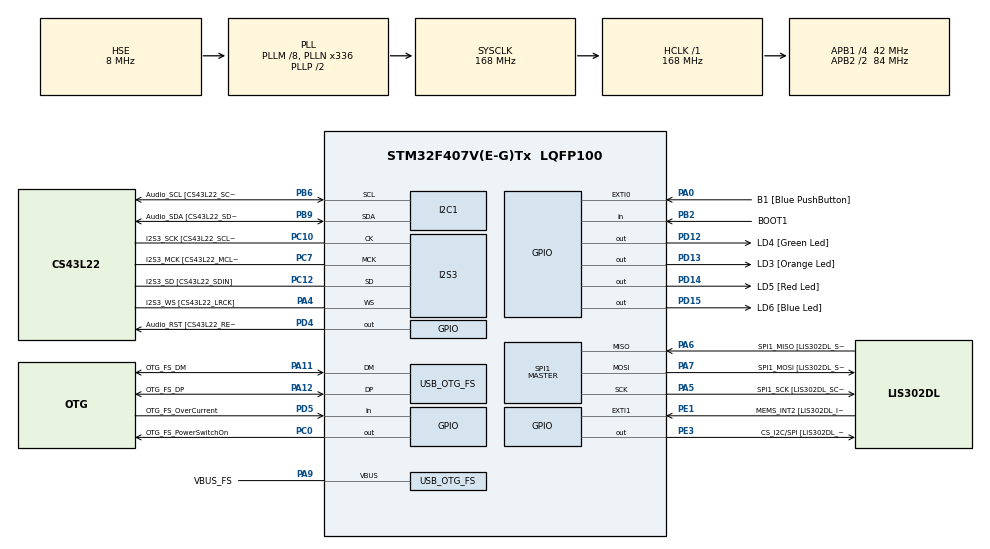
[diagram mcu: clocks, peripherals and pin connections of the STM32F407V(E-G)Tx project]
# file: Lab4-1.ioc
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I2S3.AudioFreq-Half_Duplex_Master=I2S_AUDIOFREQ_96K
I2S3.ErrorAudioFreq=-2.34 %
I2S3.ErrorAudioFreq-Half_Duplex_Master=0.8 %
I2S3.FullDuplexMode=I2S_FULLDUPLEXMODE_DISABLE
I2S3.Instance=SPI$Index
I2S3.RealAudioFreq=93.75 KHz
I2S3.RealAudioFreq-Half_Duplex_Master=96.774 KHz
I2S3.VirtualMode=I2S_MODE_MASTER
Mcu.Family=STM32F4
Mcu.Name=STM32F407V(E-G)Tx
Mcu.Package=LQFP100
NVIC.OTG_FS_IRQn=true\:0\:0\:false\:false\:true\:true\:true
NVIC.PriorityGroup=NVIC_PRIORITYGROUP_0
NVIC.TIM3_IRQn=true\:0\:0\:false\:false\:true\:true\:true
PA0-WKUP.GPIO_Label=B1 [Blue PushButton]
PA0-WKUP.GPIO_ModeDefaultEXTI=GPIO_MODE_EVT_RISING
PA0-WKUP.GPIO_PuPd=GPIO_NOPULL
PA0-WKUP.Signal=GPXTI0
PA10.GPIO_Label=OTG_FS_ID
PA10.GPIO_Mode=GPIO_MODE_AF_PP
PA10.GPIO_PuPd=GPIO_NOPULL
PA10.GPIO_Speed=GPIO_SPEED_FREQ_LOW
PA10.Signal=USB_OTG_FS_ID
PA11.GPIO_Label=OTG_FS_DM
PA11.GPIO_Mode=GPIO_MODE_AF_PP
PA11.GPIO_PuPd=GPIO_NOPULL
PA11.GPIO_Speed=GPIO_SPEED_FREQ_LOW
PA11.Mode=Host_Only
PA11.Signal=USB_OTG_FS_DM
PA12.GPIO_Label=OTG_FS_DP
PA12.GPIO_Mode=GPIO_MODE_AF_PP
PA12.GPIO_PuPd=GPIO_NOPULL
PA12.GPIO_Speed=GPIO_SPEED_FREQ_LOW
PA12.Mode=Host_Only
PA12.Signal=USB_OTG_FS_DP
PA13.GPIO_Label=SWDIO
PA13.Mode=Serial_Wire
PA13.Signal=SYS_JTMS-SWDIO
PA14.GPIO_Label=SWCLK
PA14.Mode=Serial_Wire
PA14.Signal=SYS_JTCK-SWCLK
PA4.GPIO_Label=I2S3_WS [CS43L22_LRCK]
PA4.GPIO_Mode=GPIO_MODE_AF_PP
PA4.GPIO_PuPd=GPIO_NOPULL
PA4.GPIO_Speed=GPIO_SPEED_FREQ_LOW
PA4.Mode=Half_Duplex_Master
PA4.Signal=I2S3_WS
PA5.GPIO_Label=SPI1_SCK [LIS302DL_SCL/SPC]
PA5.GPIO_Mode=GPIO_MODE_AF_PP
PA5.GPIO_PuPd=GPIO_NOPULL
PA5.GPIO_Speed=GPIO_SPEED_FREQ_LOW
PA5.Mode=Full_Duplex_Master
PA5.Signal=SPI1_SCK
PA6.GPIO_Label=SPI1_MISO [LIS302DL_SDO]
PA6.GPIO_Mode=GPIO_MODE_AF_PP
PA6.GPIO_PuPd=GPIO_NOPULL
PA6.GPIO_Speed=GPIO_SPEED_FREQ_LOW
PA6.Mode=Full_Duplex_Master
PA6.Signal=SPI1_MISO
PA7.GPIO_Label=SPI1_MOSI [LIS302DL_SDA/SDI/SDO]
PA7.GPIO_Mode=GPIO_MODE_AF_PP
PA7.GPIO_PuPd=GPIO_NOPULL
PA7.GPIO_Speed=GPIO_SPEED_FREQ_LOW
PA7.Mode=Full_Duplex_Master
PA7.Signal=SPI1_MOSI
PA9.GPIO_Label=VBUS_FS
PA9.GPIO_Mode=GPIO_MODE_INPUT
PA9.GPIO_PuPd=GPIO_NOPULL
PA9.Mode=Activate_VBUS
PA9.Signal=USB_OTG_FS_VBUS
PB10.GPIO_Label=CLK_IN [MP45DT02_CLK]
PB10.GPIO_Mode=GPIO_MODE_AF_PP
PB10.GPIO_PuPd=GPIO_NOPULL
PB10.GPIO_Speed=GPIO_SPEED_FREQ_LOW
PB10.Signal=I2S2_CK
PB2.GPIO_Label=BOOT1
PB2.GPIO_Mode=GPIO_MODE_INPUT
PB2.GPIO_PuPd=GPIO_NOPULL
PB2.Signal=GPIO_Input
PB3.GPIO_Label=SWO
PB3.Signal=SYS_JTDO-SWO
PB6.GPIO_Label=Audio_SCL [CS43L22_SCL]
PB6.GPIO_Mode=GPIO_MODE_AF_OD
PB6.GPIO_PuPd=GPIO_NOPULL
PB6.GPIO_Speed=GPIO_SPEED_FREQ_LOW
PB6.Mode=I2C
PB6.Signal=I2C1_SCL
PB9.GPIO_Label=Audio_SDA [CS43L22_SDA]
PB9.GPIO_Mode=GPIO_MODE_AF_OD
PB9.GPIO_PuPd=GPIO_NOPULL
PB9.GPIO_Speed=GPIO_SPEED_FREQ_LOW
PB9.Mode=I2C
PB9.Signal=I2C1_SDA
PC0.GPIO_Label=OTG_FS_PowerSwitchOn
PC0.GPIO_PuPd=GPIO_NOPULL
PC0.GPIO_Speed=GPIO_SPEED_FREQ_LOW
PC0.PinState=GPIO_PIN_SET
PC0.Signal=GPIO_Output
PC10.GPIO_Label=I2S3_SCK [CS43L22_SCLK]
PC10.GPIO_Mode=GPIO_MODE_AF_PP
PC10.GPIO_PuPd=GPIO_NOPULL
PC10.GPIO_Speed=GPIO_SPEED_FREQ_LOW
PC10.Mode=Half_Duplex_Master
PC10.Signal=I2S3_CK
PC12.GPIO_Label=I2S3_SD [CS43L22_SDIN]
PC12.GPIO_Mode=GPIO_MODE_AF_PP
PC12.GPIO_PuPd=GPIO_NOPULL
PC12.GPIO_Speed=GPIO_SPEED_FREQ_LOW
PC12.Mode=Half_Duplex_Master
PC12.Signal=I2S3_SD
PC14-OSC32_IN.GPIO_Label=PC14-OSC32_IN
PC14-OSC32_IN.Mode=LSE-External-Oscillator
PC14-OSC32_IN.Signal=RCC_OSC32_IN
PC15-OSC32_OUT.GPIO_Label=PC15-OSC32_OUT
PC15-OSC32_OUT.Mode=LSE-External-Oscillator
PC15-OSC32_OUT.Signal=RCC_OSC32_OUT
PC3.GPIO_Label=PDM_OUT [MP45DT02_DOUT]
PC3.GPIO_Mode=GPIO_MODE_AF_PP
PC3.GPIO_PuPd=GPIO_NOPULL
PC3.GPIO_Speed=GPIO_SPEED_FREQ_LOW
PC3.Signal=I2S2_SD
PC7.GPIO_Label=I2S3_MCK [CS43L22_MCLK]
PC7.GPIO_Mode=GPIO_MODE_AF_PP
PC7.GPIO_PuPd=GPIO_NOPULL
PC7.GPIO_Speed=GPIO_SPEED_FREQ_LOW
PC7.Mode=Master_Clock_Activated
PC7.Signal=I2S3_MCK
PD12.GPIO_Label=LD4 [Green Led]
PD12.GPIO_PuPd=GPIO_NOPULL
PD12.GPIO_Speed=GPIO_SPEED_FREQ_LOW
PD12.Signal=GPIO_Output
PD13.GPIO_Label=LD3 [Orange Led]
PD13.GPIO_PuPd=GPIO_NOPULL
PD13.GPIO_Speed=GPIO_SPEED_FREQ_LOW
PD13.Signal=GPIO_Output
PD14.GPIO_Label=LD5 [Red Led]
PD14.GPIO_PuPd=GPIO_NOPULL
PD14.GPIO_Speed=GPIO_SPEED_FREQ_LOW
PD14.Signal=GPIO_Output
PD15.GPIO_Label=LD6 [Blue Led]
PD15.GPIO_PuPd=GPIO_NOPULL
PD15.GPIO_Speed=GPIO_SPEED_FREQ_LOW
PD15.Signal=GPIO_Output
PD4.GPIO_Label=Audio_RST [CS43L22_RESET]
PD4.GPIO_PuPd=GPIO_NOPULL
PD4.GPIO_Speed=GPIO_SPEED_FREQ_LOW
PD4.Signal=GPIO_Output
PD5.GPIO_Label=OTG_FS_OverCurrent
PD5.GPIO_Mode=GPIO_MODE_INPUT
PD5.GPIO_PuPd=GPIO_NOPULL
PD5.Signal=GPIO_Input
PE1.GPIO_Label=MEMS_INT2 [LIS302DL_INT2]
PE1.GPIO_ModeDefaultEXTI=GPIO_MODE_EVT_RISING
PE1.GPIO_PuPd=GPIO_NOPULL
PE1.Signal=GPXTI1
PE3.GPIO_Label=CS_I2C/SPI [LIS302DL_CS_I2C/SPI]
PE3.GPIO_PuPd=GPIO_NOPULL
PE3.GPIO_Speed=GPIO_SPEED_FREQ_LOW
PE3.Signal=GPIO_Output
PH0-OSC_IN.GPIO_Label=PH0-OSC_IN
PH0-OSC_IN.Mode=HSE-External-Oscillator
PH0-OSC_IN.Signal=RCC_OSC_IN
PH1-OSC_OUT.GPIO_Label=PH1-OSC_OUT
PH1-OSC_OUT.Mode=HSE-External-Oscillator
PH1-OSC_OUT.Signal=RCC_OSC_OUT
ProjectManager.HeapSize=0x200
ProjectManager.StackSize=0x400
ProjectManager.TargetToolchain=STM32CubeIDE
RCC.48MHZClocksFreq_Value=48000000
RCC.AHBFreq_Value=168000000
RCC.APB1CLKDivider=RCC_HCLK_DIV4
RCC.APB1Freq_Value=42000000
RCC.APB1TimFreq_Value=84000000
RCC.APB2CLKDivider=RCC_HCLK_DIV2
RCC.APB2Freq_Value=84000000
RCC.APB2TimFreq_Value=168000000
RCC.CortexFreq_Value=168000000
RCC.HCLKFreq_Value=168000000
RCC.HSE_VALUE=8000000
RCC.HSI_VALUE=16000000
RCC.PLLM=8
RCC.PLLN=336
RCC.PLLQ=7
RCC.SYSCLKFreq_VALUE=168000000
RCC.SYSCLKSource=RCC_SYSCLKSOURCE_PLLCLK
RCC.VCOOutputFreq_Value=336000000
SPI1.BaudRatePrescaler-Full_Duplex_Master=SPI_BAUDRATEPRESCALER_2
SPI1.CalculateBaudRate-Full_Duplex_Master=42.0 MBits/s
SPI1.Direction=SPI_DIRECTION_2LINES
SPI1.Mode=SPI_MODE_MASTER
SPI1.Mode-Full_Duplex_Master=SPI_MODE_MASTER
SPI1.VirtualType=VM_MASTER
TIM3.AutoReloadPreload=TIM_AUTORELOAD_PRELOAD_ENABLE
TIM3.Period=100
TIM3.Prescaler=83
USB_HOST.BSP.number=1
USB_HOST.USBH_HandleTypeDef-CDC_FS=hUsbHostFS
USB_HOST.VirtualModeFS=Cdc
USB_HOST0.BSP.STBoard=false
USB_HOST0.BSP.api=Unknown
USB_HOST0.BSP.i2caddr=0
USB_HOST0.BSP.i2creg=0
USB_HOST0.BSP.instance=PC0
USB_HOST0.BSP.ip=GPIO
USB_HOST0.BSP.mode=Output
USB_HOST0.BSP.name=Drive_VBUS_FS
USB_HOST0.BSP.solution=PC0
USB_OTG_FS.VirtualMode=Host_Only
USB_OTG_FS.phy_itface=HCD_PHY_EMBEDDED
VP_TIM3_VS_ClockSourceINT.Mode=Internal
VP_USB_HOST_VS_USB_HOST_CDC_FS.Mode=CDC_FS
board=STM32F4DISCOVERY

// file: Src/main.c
/* USER CODE BEGIN Header */
/**
  ******************************************************************************
  * @file           : main.c
  * @brief          : Main program body
  ******************************************************************************
  * @attention
  *
  * <h2><center>&copy; Copyright (c) 2019 STMicroelectronics.
  * All rights reserved.</center></h2>
  *
  * This software component is licensed by ST under Ultimate Liberty license
  * SLA0044, the "License"; You may not use this file except in compliance with
  * the License. You may obtain a copy of the License at:
  *                             www.st.com/SLA0044
  *
  ******************************************************************************
  */
/* USER CODE END Header */

#include "main.h"
#include "usb_host.h"

I2C_HandleTypeDef hi2c1;

I2S_HandleTypeDef hi2s3;

SPI_HandleTypeDef hspi1;

TIM_HandleTypeDef htim3;

void SystemClock_Config(void);
static void MX_GPIO_Init(void);
static void MX_I2C1_Init(void);
static void MX_I2S3_Init(void);
static void MX_SPI1_Init(void);
static void MX_TIM3_Init(void);
void MX_USB_HOST_Process(void);

/* USER CODE BEGIN 0 */

int cnt = 0;
int lightPow = 0;
int state = 0;
int check = 0;

void HAL_TIM_PeriodElapsedCallback(TIM_HandleTypeDef *htim) {

	if(lightPow == 100 && state == 0) {
		state = 1;
	} else if(lightPow == 0 && state == 1) {
		state = 0;
	}
		if(cnt<=lightPow){
			HAL_GPIO_WritePin(GPIOD, GPIO_PIN_15, 1);
		} else {
			HAL_GPIO_WritePin(GPIOD, GPIO_PIN_15, 0);
		}
	if(cnt == 100){
		if (state == 0) lightPow++;
		else lightPow--;
		cnt = 0;
	}

	cnt++;

}

/* USER CODE END 0 */

int main(void)
{

  /* MCU Configuration--------------------------------------------------------*/

  /* Reset of all peripherals, Initializes the Flash interface and the Systick. */
  HAL_Init();

  /* Configure the system clock */
  SystemClock_Config();

  /* Initialize all configured peripherals */
  MX_GPIO_Init();
  MX_I2C1_Init();
  MX_I2S3_Init();
  MX_SPI1_Init();
  MX_USB_HOST_Init();
  MX_TIM3_Init();
  /* USER CODE BEGIN 2 */

  HAL_TIM_Base_Start_IT(&htim3);

  /* USER CODE END 2 */

  /* Infinite loop */
  while (1)
  {
    MX_USB_HOST_Process();

  }
}

void SystemClock_Config(void)
{
  RCC_OscInitTypeDef RCC_OscInitStruct = {0};
  RCC_ClkInitTypeDef RCC_ClkInitStruct = {0};
  RCC_PeriphCLKInitTypeDef PeriphClkInitStruct = {0};

  /** Configure the main internal regulator output voltage
  */
  __HAL_RCC_PWR_CLK_ENABLE();
  __HAL_PWR_VOLTAGESCALING_CONFIG(PWR_REGULATOR_VOLTAGE_SCALE1);
  /** Initializes the CPU, AHB and APB busses clocks
  */
  RCC_OscInitStruct.OscillatorType = RCC_OSCILLATORTYPE_HSE;
  RCC_OscInitStruct.HSEState = RCC_HSE_ON;
  RCC_OscInitStruct.PLL.PLLState = RCC_PLL_ON;
  RCC_OscInitStruct.PLL.PLLSource = RCC_PLLSOURCE_HSE;
  RCC_OscInitStruct.PLL.PLLM = 8;
  RCC_OscInitStruct.PLL.PLLN = 336;
  RCC_OscInitStruct.PLL.PLLP = RCC_PLLP_DIV2;
  RCC_OscInitStruct.PLL.PLLQ = 7;
  if (HAL_RCC_OscConfig(&RCC_OscInitStruct) != HAL_OK)
  {
    Error_Handler();
  }
  /** Initializes the CPU, AHB and APB busses clocks
  */
  RCC_ClkInitStruct.ClockType = RCC_CLOCKTYPE_HCLK|RCC_CLOCKTYPE_SYSCLK
                              |RCC_CLOCKTYPE_PCLK1|RCC_CLOCKTYPE_PCLK2;
  RCC_ClkInitStruct.SYSCLKSource = RCC_SYSCLKSOURCE_PLLCLK;
  RCC_ClkInitStruct.AHBCLKDivider = RCC_SYSCLK_DIV1;
  RCC_ClkInitStruct.APB1CLKDivider = RCC_HCLK_DIV4;
  RCC_ClkInitStruct.APB2CLKDivider = RCC_HCLK_DIV2;

  if (HAL_RCC_ClockConfig(&RCC_ClkInitStruct, FLASH_LATENCY_5) != HAL_OK)
  {
    Error_Handler();
  }
  PeriphClkInitStruct.PeriphClockSelection = RCC_PERIPHCLK_I2S;
  PeriphClkInitStruct.PLLI2S.PLLI2SN = 192;
  PeriphClkInitStruct.PLLI2S.PLLI2SR = 2;
  if (HAL_RCCEx_PeriphCLKConfig(&PeriphClkInitStruct) != HAL_OK)
  {
    Error_Handler();
  }
}

static void MX_I2C1_Init(void)
{

  hi2c1.Instance = I2C1;
  hi2c1.Init.ClockSpeed = 100000;
  hi2c1.Init.DutyCycle = I2C_DUTYCYCLE_2;
  hi2c1.Init.OwnAddress1 = 0;
  hi2c1.Init.AddressingMode = I2C_ADDRESSINGMODE_7BIT;
  hi2c1.Init.DualAddressMode = I2C_DUALADDRESS_DISABLE;
  hi2c1.Init.OwnAddress2 = 0;
  hi2c1.Init.GeneralCallMode = I2C_GENERALCALL_DISABLE;
  hi2c1.Init.NoStretchMode = I2C_NOSTRETCH_DISABLE;
  if (HAL_I2C_Init(&hi2c1) != HAL_OK)
  {
    Error_Handler();
  }

}

static void MX_I2S3_Init(void)
{

  hi2s3.Instance = SPI3;
  hi2s3.Init.Mode = I2S_MODE_MASTER_TX;
  hi2s3.Init.Standard = I2S_STANDARD_PHILIPS;
  hi2s3.Init.DataFormat = I2S_DATAFORMAT_16B;
  hi2s3.Init.MCLKOutput = I2S_MCLKOUTPUT_ENABLE;
  hi2s3.Init.AudioFreq = I2S_AUDIOFREQ_96K;
  hi2s3.Init.CPOL = I2S_CPOL_LOW;
  hi2s3.Init.ClockSource = I2S_CLOCK_PLL;
  hi2s3.Init.FullDuplexMode = I2S_FULLDUPLEXMODE_DISABLE;
  if (HAL_I2S_Init(&hi2s3) != HAL_OK)
  {
    Error_Handler();
  }

}

static void MX_SPI1_Init(void)
{

  /* SPI1 parameter configuration*/
  hspi1.Instance = SPI1;
  hspi1.Init.Mode = SPI_MODE_MASTER;
  hspi1.Init.Direction = SPI_DIRECTION_2LINES;
  hspi1.Init.DataSize = SPI_DATASIZE_8BIT;
  hspi1.Init.CLKPolarity = SPI_POLARITY_LOW;
  hspi1.Init.CLKPhase = SPI_PHASE_1EDGE;
  hspi1.Init.NSS = SPI_NSS_SOFT;
  hspi1.Init.BaudRatePrescaler = SPI_BAUDRATEPRESCALER_2;
  hspi1.Init.FirstBit = SPI_FIRSTBIT_MSB;
  hspi1.Init.TIMode = SPI_TIMODE_DISABLE;
  hspi1.Init.CRCCalculation = SPI_CRCCALCULATION_DISABLE;
  hspi1.Init.CRCPolynomial = 10;
  if (HAL_SPI_Init(&hspi1) != HAL_OK)
  {
    Error_Handler();
  }

}

static void MX_TIM3_Init(void)
{

  TIM_ClockConfigTypeDef sClockSourceConfig = {0};
  TIM_MasterConfigTypeDef sMasterConfig = {0};

  htim3.Instance = TIM3;
  htim3.Init.Prescaler = 83;
  htim3.Init.CounterMode = TIM_COUNTERMODE_UP;
  htim3.Init.Period = 100;
  htim3.Init.ClockDivision = TIM_CLOCKDIVISION_DIV1;
  htim3.Init.AutoReloadPreload = TIM_AUTORELOAD_PRELOAD_ENABLE;
  if (HAL_TIM_Base_Init(&htim3) != HAL_OK)
  {
    Error_Handler();
  }
  sClockSourceConfig.ClockSource = TIM_CLOCKSOURCE_INTERNAL;
  if (HAL_TIM_ConfigClockSource(&htim3, &sClockSourceConfig) != HAL_OK)
  {
    Error_Handler();
  }
  sMasterConfig.MasterOutputTrigger = TIM_TRGO_RESET;
  sMasterConfig.MasterSlaveMode = TIM_MASTERSLAVEMODE_DISABLE;
  if (HAL_TIMEx_MasterConfigSynchronization(&htim3, &sMasterConfig) != HAL_OK)
  {
    Error_Handler();
  }

}

static void MX_GPIO_Init(void)
{
  GPIO_InitTypeDef GPIO_InitStruct = {0};

  /* GPIO Ports Clock Enable */
  __HAL_RCC_GPIOE_CLK_ENABLE();
  __HAL_RCC_GPIOC_CLK_ENABLE();
  __HAL_RCC_GPIOH_CLK_ENABLE();
  __HAL_RCC_GPIOA_CLK_ENABLE();
  __HAL_RCC_GPIOB_CLK_ENABLE();
  __HAL_RCC_GPIOD_CLK_ENABLE();

  /*Configure GPIO pin Output Level */
  HAL_GPIO_WritePin(CS_I2C_SPI_GPIO_Port, CS_I2C_SPI_Pin, GPIO_PIN_RESET);

  /*Configure GPIO pin Output Level */
  HAL_GPIO_WritePin(OTG_FS_PowerSwitchOn_GPIO_Port, OTG_FS_PowerSwitchOn_Pin, GPIO_PIN_SET);

  /*Configure GPIO pin Output Level */
  HAL_GPIO_WritePin(GPIOD, LD4_Pin|LD3_Pin|LD5_Pin|LD6_Pin
                          |Audio_RST_Pin, GPIO_PIN_RESET);

  /*Configure GPIO pin : CS_I2C_SPI_Pin */
  GPIO_InitStruct.Pin = CS_I2C_SPI_Pin;
  GPIO_InitStruct.Mode = GPIO_MODE_OUTPUT_PP;
  GPIO_InitStruct.Pull = GPIO_NOPULL;
  GPIO_InitStruct.Speed = GPIO_SPEED_FREQ_LOW;
  HAL_GPIO_Init(CS_I2C_SPI_GPIO_Port, &GPIO_InitStruct);

  /*Configure GPIO pin : OTG_FS_PowerSwitchOn_Pin */
  GPIO_InitStruct.Pin = OTG_FS_PowerSwitchOn_Pin;
  GPIO_InitStruct.Mode = GPIO_MODE_OUTPUT_PP;
  GPIO_InitStruct.Pull = GPIO_NOPULL;
  GPIO_InitStruct.Speed = GPIO_SPEED_FREQ_LOW;
  HAL_GPIO_Init(OTG_FS_PowerSwitchOn_GPIO_Port, &GPIO_InitStruct);

  /*Configure GPIO pin : PDM_OUT_Pin */
  GPIO_InitStruct.Pin = PDM_OUT_Pin;
  GPIO_InitStruct.Mode = GPIO_MODE_AF_PP;
  GPIO_InitStruct.Pull = GPIO_NOPULL;
  GPIO_InitStruct.Speed = GPIO_SPEED_FREQ_LOW;
  GPIO_InitStruct.Alternate = GPIO_AF5_SPI2;
  HAL_GPIO_Init(PDM_OUT_GPIO_Port, &GPIO_InitStruct);

  /*Configure GPIO pin : B1_Pin */
  GPIO_InitStruct.Pin = B1_Pin;
  GPIO_InitStruct.Mode = GPIO_MODE_EVT_RISING;
  GPIO_InitStruct.Pull = GPIO_NOPULL;
  HAL_GPIO_Init(B1_GPIO_Port, &GPIO_InitStruct);

  /*Configure GPIO pin : BOOT1_Pin */
  GPIO_InitStruct.Pin = BOOT1_Pin;
  GPIO_InitStruct.Mode = GPIO_MODE_INPUT;
  GPIO_InitStruct.Pull = GPIO_NOPULL;
  HAL_GPIO_Init(BOOT1_GPIO_Port, &GPIO_InitStruct);

  /*Configure GPIO pin : CLK_IN_Pin */
  GPIO_InitStruct.Pin = CLK_IN_Pin;
  GPIO_InitStruct.Mode = GPIO_MODE_AF_PP;
  GPIO_InitStruct.Pull = GPIO_NOPULL;
  GPIO_InitStruct.Speed = GPIO_SPEED_FREQ_LOW;
  GPIO_InitStruct.Alternate = GPIO_AF5_SPI2;
  HAL_GPIO_Init(CLK_IN_GPIO_Port, &GPIO_InitStruct);

  /*Configure GPIO pins : LD4_Pin LD3_Pin LD5_Pin LD6_Pin
                           Audio_RST_Pin */
  GPIO_InitStruct.Pin = LD4_Pin|LD3_Pin|LD5_Pin|LD6_Pin
                          |Audio_RST_Pin;
  GPIO_InitStruct.Mode = GPIO_MODE_OUTPUT_PP;
  GPIO_InitStruct.Pull = GPIO_NOPULL;
  GPIO_InitStruct.Speed = GPIO_SPEED_FREQ_LOW;
  HAL_GPIO_Init(GPIOD, &GPIO_InitStruct);

  /*Configure GPIO pin : OTG_FS_OverCurrent_Pin */
  GPIO_InitStruct.Pin = OTG_FS_OverCurrent_Pin;
  GPIO_InitStruct.Mode = GPIO_MODE_INPUT;
  GPIO_InitStruct.Pull = GPIO_NOPULL;
  HAL_GPIO_Init(OTG_FS_OverCurrent_GPIO_Port, &GPIO_InitStruct);

  /*Configure GPIO pin : MEMS_INT2_Pin */
  GPIO_InitStruct.Pin = MEMS_INT2_Pin;
  GPIO_InitStruct.Mode = GPIO_MODE_EVT_RISING;
  GPIO_InitStruct.Pull = GPIO_NOPULL;
  HAL_GPIO_Init(MEMS_INT2_GPIO_Port, &GPIO_InitStruct);

}

void Error_Handler(void)
{
}

/************************ (C) COPYRIGHT STMicroelectronics *****END OF FILE****/
